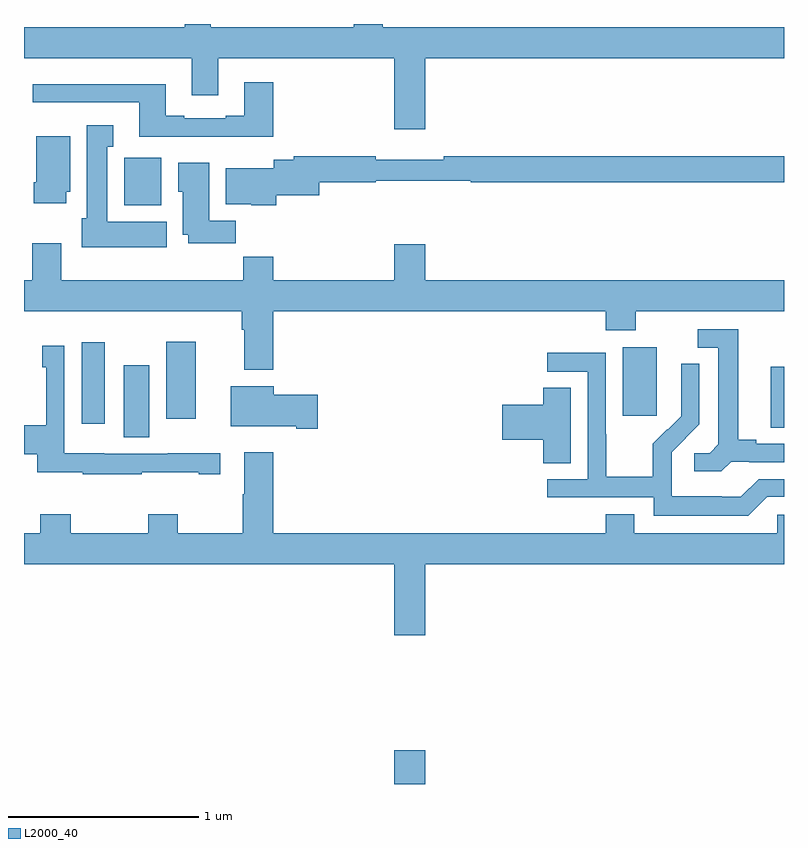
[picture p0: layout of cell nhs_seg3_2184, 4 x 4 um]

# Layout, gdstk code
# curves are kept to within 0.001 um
import gdstk
lib = gdstk.Library(unit=1e-6, precision=1e-09)
def R(c, l, rs):  # rectangles x0, y0, x1, y1
    for r in rs: c.add(gdstk.rectangle(r[:2], r[2:], *l))
def P(c, l, *ps):  # polygons
    for p in ps: c.add(gdstk.Polygon(p, *l))
L2000_40 = (2000, 40)

nhs_seg3_2184 = lib.new_cell('nhs_seg3_2184')
R(nhs_seg3_2184, L2000_40, [(224.948,726.4,225.112,726.577), (223.526,728.224,223.66,728.605), (226.931,728.275,227,728.595), (223.304,728.295,223.426,728.725), (223.748,728.322,223.903,728.728), (226.151,728.337,226.33,728.698), (223.527,729.446,223.723,729.696)])
P(nhs_seg3_2184, L2000_40, [(225.112,730.22),(227,730.22),(227,730.384),(224.888,730.384),(224.888,730.4),(224.735,730.4),(224.735,730.384),(223.983,730.384),(223.983,730.4),(223.845,730.4),(223.845,730.384),(223,730.384),(223,730.22),(223.883,730.22),(223.883,730.026),(224.023,730.026),(224.023,730.22),(224.948,730.22),(224.948,729.846),(225.112,729.846)],
  [(224.312,730.093),(224.159,730.093),(224.159,729.916),(224.063,729.916),(224.063,729.903),(223.843,729.903),(223.843,729.916),(223.747,729.916),(223.747,730.084),(223.047,730.084),(223.047,729.987),(223.607,729.987),(223.607,729.806),(224.312,729.806)],
  [(223.75,729.358),(223.438,729.358),(223.438,729.755),(223.471,729.755),(223.471,729.868),(223.331,729.868),(223.331,729.378),(223.304,729.378),(223.304,729.224),(223.75,729.224)],
  [(223.222,729.516),(223.243,729.516),(223.243,729.808),(223.064,729.808),(223.064,729.568),(223.052,729.568),(223.052,729.456),(223.222,729.456)],
  [(224.327,729.5),(224.554,729.5),(224.554,729.568),(224.85,729.568),(224.85,729.576),(225.35,729.576),(225.35,729.568),(227,729.568),(227,729.704),(225.208,729.704),(225.208,729.685),(224.852,729.685),(224.852,729.704),(224.419,729.704),(224.419,729.685),(224.315,729.685),(224.315,729.64),(224.063,729.64),(224.063,729.452),(224.196,729.452),(224.196,729.446),(224.327,729.446)],
  [(224.114,729.364),(223.975,729.364),(223.975,729.67),(223.811,729.67),(223.811,729.516),(223.835,729.516),(223.835,729.29),(223.865,729.29),(223.865,729.246),(224.114,729.246)],
  [(224.312,728.888),(226.061,728.888),(226.061,728.789),(226.221,728.789),(226.221,728.888),(227,728.888),(227,729.052),(225.112,729.052),(225.112,729.241),(224.948,729.241),(224.948,729.052),(224.312,729.052),(224.312,729.176),(224.155,729.176),(224.155,729.052),(223.195,729.052),(223.195,729.247),(223.043,729.247),(223.043,729.052),(223,729.052),(223,728.888),(224.147,728.888),(224.147,728.792),(224.159,728.792),(224.159,728.579),(224.312,728.579)],
  [(226.722,728.097),(226.816,728.097),(226.816,728.094),(227,728.094),(227,728.19),(226.855,728.19),(226.855,728.213),(226.759,728.213),(226.759,728.793),(226.545,728.793),(226.545,728.697),(226.655,728.697),(226.655,728.189),(226.608,728.142),(226.527,728.142),(226.527,728.045),(226.67,728.045)],
  [(223.619,728.041),(223.919,728.041),(223.919,728.031),(224.032,728.031),(224.032,728.141),(223.756,728.141),(223.756,728.139),(223.422,728.139),(223.422,728.14),(223.212,728.14),(223.212,728.707),(223.096,728.707),(223.096,728.594),(223.116,728.594),(223.116,728.288),(223,728.288),(223,728.135),(223.07,728.135),(223.07,728.041),(223.309,728.041),(223.309,728.031),(223.619,728.031)],
  [(226.911,727.911),(227,727.911),(227,728.004),(226.866,728.004),(226.773,727.911),(226.673,727.911),(226.673,727.915),(226.41,727.915),(226.41,728.049),(226.408,728.049),(226.408,728.146),(226.554,728.294),(226.554,728.612),(226.458,728.612),(226.458,728.458),(226.46,728.458),(226.46,728.336),(226.389,728.265),(226.386,728.268),(226.309,728.191),(226.309,728.017),(226.065,728.017),(226.065,728.24),(226.062,728.24),(226.062,728.67),(225.753,728.67),(225.753,728.571),(225.966,728.571),(225.966,728.004),(225.753,728.004),(225.753,727.908),(226.314,727.908),(226.314,727.811),(226.811,727.811)],
  [(224.545,728.448),(224.314,728.448),(224.314,728.494),(224.087,728.494),(224.087,728.282),(224.432,728.282),(224.432,728.27),(224.545,728.27)],
  [(225.877,728.486),(225.734,728.486),(225.734,728.396),(225.516,728.396),(225.516,728.213),(225.734,728.213),(225.734,728.089),(225.877,728.089)],
  [(225.112,727.556),(227,727.556),(227,727.818),(226.965,727.818),(226.965,727.72),(226.213,727.72),(226.213,727.819),(226.061,727.819),(226.061,727.72),(224.312,727.72),(224.312,728.146),(224.159,728.146),(224.159,727.925),(224.152,727.925),(224.152,727.72),(223.809,727.72),(223.809,727.819),(223.654,727.819),(223.654,727.72),(223.245,727.72),(223.245,727.819),(223.085,727.819),(223.085,727.72),(223,727.72),(223,727.556),(224.948,727.556),(224.948,727.182),(225.112,727.182)])

lib.write_gds('nhs_seg3_2184.gds')
